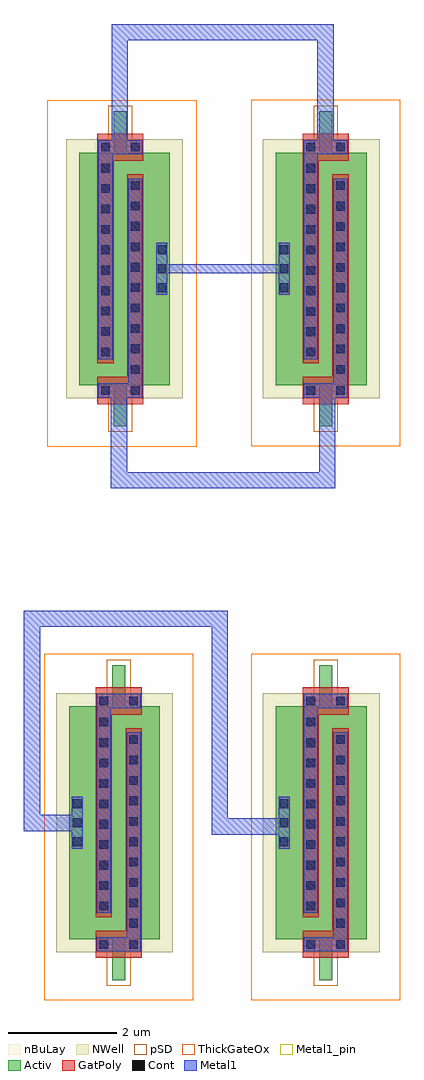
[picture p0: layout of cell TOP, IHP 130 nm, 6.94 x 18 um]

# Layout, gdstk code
from math import pi, radians
import gdstk
lib = gdstk.Library(unit=1e-6, precision=1e-09)
def R(c, l, rs):  # rectangles x0, y0, x1, y1
    for r in rs: c.add(gdstk.rectangle(r[:2], r[2:], *l))
def A(c, l, x, y, w, h, nx, ny, dx, dy):  # array of equal rectangles
    R(c, l, [(x+i*dx, y+j*dy, x+i*dx+w, y+j*dy+h) for i in range(nx) for j in range(ny)])
Activ = (1, 0)
GatPoly = (5, 0)
Cont = (6, 0)
Metal1 = (8, 0)
Metal1_pin = (8, 2)
pSD = (14, 0)
NWell = (31, 0)
nBuLay = (32, 0)
ThickGateOx = (44, 0)

svaricap = lib.new_cell('SVaricap')
R(svaricap, Activ, [(1.035,-0.52,1.275,0.24), (0.24,0.24,1.91,4.53), (1.035,4.53,1.275,5.29)])
R(svaricap, GatPoly, [(0.73,-0.11,1.58,0.39), (1.28,0.39,1.58,4.13), (0.73,0.64,1.03,4.38), (0.73,4.38,1.58,4.88)])
A(svaricap, Cont, 1.35, 0.45, 0.16, 0.16, 1, 3, 0, 0.375)
A(svaricap, Cont, 0.8, 0.77, 0.16, 0.16, 1, 3, 0, 0.375)
A(svaricap, Cont, 1.35, 1.58, 0.16, 0.16, 1, 3, 0, 0.375)
A(svaricap, Cont, 0.8, 1.9, 0.16, 0.16, 1, 3, 0, 0.375)
A(svaricap, Cont, 0.31, 1.955, 0.16, 0.16, 1, 3, 0, 0.35)
A(svaricap, Cont, 1.35, 2.71, 0.16, 0.16, 1, 3, 0, 0.375)
A(svaricap, Cont, 0.8, 3.03, 0.16, 0.16, 1, 3, 0, 0.375)
R(svaricap, Cont, [(0.8,0.06,0.96,0.22), (1.35,0.06,1.51,0.22), (1.35,3.84,1.51,4), (0.8,4.16,0.96,4.32), (0.8,4.55,0.96,4.71), (1.35,4.55,1.51,4.71)])
R(svaricap, Metal1, [(0.75,0.01,1.56,0.27), (1.3,0.27,1.56,0.4), (1.3,0.4,1.56,4.05), (0.75,0.72,1.01,4.37), (0.29,1.905,0.49,2.865), (0.75,4.37,1.01,4.5), (0.75,4.5,1.56,4.76)])
R(svaricap, Metal1_pin, [(0.75,0.01,1.56,0.27), (0.29,1.915,0.49,2.855), (0.75,4.5,1.56,4.76)])
R(svaricap, pSD, [(0.935,-0.62,1.375,0.14), (0.935,4.63,1.375,5.39)])
R(svaricap, NWell, [(0,0,2.15,4.77)])
R(svaricap, nBuLay, [(0.24,0.24,1.91,4.53)])
svaricap.add(gdstk.Label('SVaricap', (0.24,0.59), layer=63, texttype=0))

top = lib.new_cell('TOP')
R(top, Metal1, [(2.145,2.305,4.56,2.465)])
R(top, ThickGateOx, [(0.055,-11.1,2.805,-4.71), (3.87,-11.1,6.62,-4.71), (0.115,-0.895,2.865,5.495), (3.87,-0.885,6.62,5.505)])
top.add(gdstk.FlexPath([(1.45,4.63),(1.45,6.75),(5.245,6.75),(5.245,4.63),(5.245,4.63)], 0.3, ends="flush", simple_path=True, layer=8, datatype=0))  # Metal1
top.add(gdstk.FlexPath([(1.435,0.14),(1.435,-1.515),(5.275,-1.515),(5.275,0.24)], 0.3, ends="flush", simple_path=True, layer=8, datatype=0))  # Metal1
top.add(gdstk.FlexPath([(0.745,-7.835),(-0.17,-7.835),(-0.17,-4.07),(3.295,-4.07),(3.295,-7.9),(4.56,-7.9),(4.56,-7.9)], 0.3, ends="flush", simple_path=True, layer=8, datatype=0))  # Metal1
top.add(gdstk.Reference(svaricap, (2.615,4.77), rotation=pi))
top.add(gdstk.Reference(svaricap, (4.09,0)))
top.add(gdstk.Reference(svaricap, (0.275,-10.215)))
top.add(gdstk.Reference(svaricap, (4.09,-10.215)))

lib.write_gds('TOP.gds')
